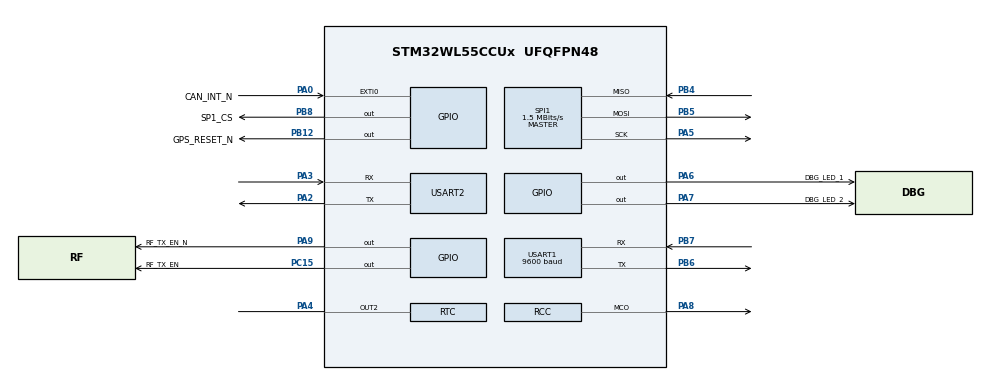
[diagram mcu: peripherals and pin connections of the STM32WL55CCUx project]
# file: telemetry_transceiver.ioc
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Mcu.Family=STM32WL
Mcu.Name=STM32WL55CCUx
Mcu.Package=UFQFPN48
Mcu.UserConstants=APB1TIM_CLK_MHz,32
NVIC.EXTI0_IRQn=true\:0\:0\:false\:false\:true\:true\:true\:true
NVIC.PriorityGroup=NVIC_PRIORITYGROUP_4
NVIC.SPI1_IRQn=true\:0\:0\:false\:false\:true\:true\:true\:true
NVIC.SUBGHZ_Radio_IRQn=true\:0\:0\:false\:false\:true\:true\:true\:true
PA0.GPIO_Label=CAN_INT_N
PA0.GPIO_ModeDefaultEXTI=GPIO_MODE_IT_FALLING
PA0.Signal=GPXTI0
PA13.Mode=Serial_Wire
PA13.Signal=DEBUG_JTMS-SWDIO
PA14.Mode=Serial_Wire
PA14.Signal=DEBUG_JTCK-SWCLK
PA2.Mode=Asynchronous
PA2.Signal=USART2_TX
PA3.Mode=Asynchronous
PA3.Signal=USART2_RX
PA4.Mode=Calibration_1Hz
PA4.Signal=RTC_OUT2
PA5.Mode=Full_Duplex_Master
PA5.Signal=SPI1_SCK
PA6.GPIO_Label=DBG_LED_1
PA6.Signal=GPIO_Output
PA7.GPIO_Label=DBG_LED_2
PA7.Signal=GPIO_Output
PA8.Mode=Clock-out
PA8.Signal=RCC_MCO
PA9.GPIO_Label=RF_TX_EN_N
PA9.Signal=GPIO_Output
PB12.GPIO_Label=GPS_RESET_N
PB12.Signal=GPIO_Output
PB3.Signal=DEBUG_JTDO-SWO
PB4.Mode=Full_Duplex_Master
PB4.Signal=SPI1_MISO
PB5.Mode=Full_Duplex_Master
PB5.Signal=SPI1_MOSI
PB6.Mode=Asynchronous
PB6.Signal=USART1_TX
PB7.Mode=Asynchronous
PB7.Signal=USART1_RX
PB8.GPIO_Label=SP1_CS
PB8.Signal=GPIO_Output
PC15-OSC32_OUT.GPIO_Label=RF_TX_EN
PC15-OSC32_OUT.Signal=GPIO_Output
ProjectManager.HeapSize=0x200
ProjectManager.StackSize=0x400
ProjectManager.TargetToolchain=STM32CubeIDE
RCC.AHBFreq_Value=48000000
RCC.APB1Freq_Value=48000000
RCC.APB1TimFreq_Value=48000000
RCC.APB2Freq_Value=48000000
RCC.APB2TimFreq_Value=48000000
RCC.APB3Freq_Value=48000000
RCC.CortexFreq_Value=48000000
RCC.HCLKFreq_Value=48000000
RCC.HSE_VALUE=32000000
RCC.HSI_VALUE=16000000
RCC.LSE_VALUE=32768
RCC.MSIClockRange=RCC_MSIRANGE_11
RCC.RCC_MCO1Source=RCC_MCO1SOURCE_HSI
RCC.RCC_MCODiv=RCC_MCODIV_2
RCC.SYSCLKFreq_VALUE=48000000
RCC.VCOOutputFreq_Value=384000000
SPI1.BaudRatePrescaler=SPI_BAUDRATEPRESCALER_32
SPI1.CalculateBaudRate=1.5 MBits/s
SPI1.DataSize=SPI_DATASIZE_8BIT
SPI1.Direction=SPI_DIRECTION_2LINES
SPI1.Mode=SPI_MODE_MASTER
SPI1.VirtualType=VM_MASTER
USART1.BaudRate=9600
USART1.VirtualMode-Asynchronous=VM_ASYNC
USART2.VirtualMode-Asynchronous=VM_ASYNC
VP_RTC_VS_RTC_Activate.Mode=RTC_Enabled
VP_SUBGHZ_VS_SUBGHZ.Mode=SUBGHZ_Activate
board=custom

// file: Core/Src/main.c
/* USER CODE BEGIN Header */
/**
 ******************************************************************************
 * @file           : main.c
 * @brief          : Main program body
 ******************************************************************************
 * @attention
 *
 * Copyright (c) 2026 STMicroelectronics.
 * All rights reserved.
 *
 * This software is licensed under terms that can be found in the LICENSE file
 * in the root directory of this software component.
 * If no LICENSE file comes with this software, it is provided AS-IS.
 *
 ******************************************************************************
 */
/* USER CODE END Header */
#include "main.h"
#include "rtc.h"
#include "spi.h"
#include "subghz.h"
#include "usart.h"
#include "gpio.h"

/* USER CODE BEGIN Includes */
#include "evclib.h"
#include "gps.h"
#include "lora.h"
#include "mcp2515.h"
/* USER CODE END Includes */

/* USER CODE BEGIN PV */
uint8_t message[8] = "Hello!!";

uint8_t outbuf[8] = "whatttt\0";
uint8_t size;

uint8_t rxb0[20];
uint8_t rxb1[20];

/* USER CODE END PV */

void SystemClock_Config(void);

/* USER CODE BEGIN 0 */
volatile uint8_t canIrqPending = 0;

/* GPIO Interrupt Handler */
void HAL_GPIO_EXTI_Callback(uint16_t gpio_pin) {
	// if (gpio_pin == GPIO_PIN_0) {
	HAL_GPIO_WritePin(DBG_LED_1_GPIO_Port, DBG_LED_1_Pin, GPIO_PIN_RESET);
	canIrqPending = 1;
	// }
}

//void HAL_TIM_PeriodElapsedCallback(TIM_HandleTypeDef *htim){
//	HAL_GPIO_TogglePin(DBG_LED_2_GPIO_Port, DBG_LED_2_Pin);
//}
/* USER CODE END 0 */

int main(void)
{

	/* MCU Configuration--------------------------------------------------------*/

	/* Reset of all peripherals, Initializes the Flash interface and the Systick. */
	HAL_Init();

	/* Configure the system clock */
	SystemClock_Config();

	/* Initialize all configured peripherals */
	MX_GPIO_Init();
	MX_SUBGHZ_Init();
	MX_USART1_UART_Init();
	MX_USART2_UART_Init();
	MX_RTC_Init();
	MX_SPI1_Init();
	/* USER CODE BEGIN 2 */
	HAL_GPIO_WritePin(GPS_RESET_N_GPIO_Port, GPS_RESET_N_Pin, GPIO_PIN_RESET);
	HAL_Delay(10);
	HAL_GPIO_WritePin(GPS_RESET_N_GPIO_Port, GPS_RESET_N_Pin, GPIO_PIN_SET);
	HAL_Delay(20);

	// NOTE: THE LEDs are active low
	HAL_GPIO_WritePin(DBG_LED_1_GPIO_Port, DBG_LED_1_Pin, GPIO_PIN_SET);
	HAL_GPIO_WritePin(DBG_LED_2_GPIO_Port, DBG_LED_2_Pin, GPIO_PIN_SET);

	DBG_Init(&huart2);
	MCP_Status_t status = MCP_Init();
	DBG(DBG_W, DBG_MAIN, "MCP Init Status: %d", status);
	lora_init(LORA_SF7, LORA_BW_250);
	lora_setupTX();

	//	lora_init(LORA_SF7, LORA_BW_125);
	//	lora_setupRX();
	//	lora_startContinuousRx((uint32_t)0xFFFFFF);

	DBG(DBG_MAIN,DBG_I, "Scout Online");
	/* USER CODE END 2 */

	/* Infinite loop */
	while (1)
	{

		/* USER CODE BEGIN 3 */

		//		uint8_t msgCount = 0;
		//		if (canIrqPending) {
		//			DBG(DBG_MAIN, DBG_I, "CAN Message Received!");
		//			HAL_GPIO_WritePin(DBG_LED_1_GPIO_Port, DBG_LED_1_Pin, GPIO_PIN_SET);
		//			MCP_ReadRxBuffer(rxb0, rxb1, &msgCount);
		//			HAL_UART_Transmit(&huart2, rxb0, RX_BUFFER_SIZE, HAL_MAX_DELAY);
		//			HAL_UART_Transmit(&huart2, rxb1, RX_BUFFER_SIZE, HAL_MAX_DELAY);
		//			canIrqPending = 0;
		//		}

		DBG(DBG_MAIN, DBG_I,"Sending Message");
		lora_send(message, LORA_TIMEOUT);
		HAL_Delay(10);

		//		int status = lora_receive(outbuf, &size, 8);
		//		if(status == 0){
		//			DBG(DBG_MAIN,DBG_I,"Received message of size: %d\n", size);
		//			DBG(DBG_MAIN,DBG_I,"Message: %s", outbuf);
		//		}else{
		//			DBG(DBG_MAIN, DBG_E, "Status: %d", status);
		//		}
		//
		//		HAL_Delay(100);

	}
	/* USER CODE END 3 */
}

void SystemClock_Config(void)
{
	RCC_OscInitTypeDef RCC_OscInitStruct = {0};
	RCC_ClkInitTypeDef RCC_ClkInitStruct = {0};

	/** Configure the main internal regulator output voltage
	 */
	__HAL_PWR_VOLTAGESCALING_CONFIG(PWR_REGULATOR_VOLTAGE_SCALE1);

	/** Initializes the CPU, AHB and APB buses clocks
	 */
	RCC_OscInitStruct.OscillatorType = RCC_OSCILLATORTYPE_HSI|RCC_OSCILLATORTYPE_LSI
			|RCC_OSCILLATORTYPE_MSI;
	RCC_OscInitStruct.HSIState = RCC_HSI_ON;
	RCC_OscInitStruct.MSIState = RCC_MSI_ON;
	RCC_OscInitStruct.HSICalibrationValue = RCC_HSICALIBRATION_DEFAULT;
	RCC_OscInitStruct.MSICalibrationValue = RCC_MSICALIBRATION_DEFAULT;
	RCC_OscInitStruct.MSIClockRange = RCC_MSIRANGE_11;
	RCC_OscInitStruct.LSIDiv = RCC_LSI_DIV1;
	RCC_OscInitStruct.LSIState = RCC_LSI_ON;
	RCC_OscInitStruct.PLL.PLLState = RCC_PLL_NONE;
	if (HAL_RCC_OscConfig(&RCC_OscInitStruct) != HAL_OK)
	{
		Error_Handler();
	}

	/** Configure the SYSCLKSource, HCLK, PCLK1 and PCLK2 clocks dividers
	 */
	RCC_ClkInitStruct.ClockType = RCC_CLOCKTYPE_HCLK3|RCC_CLOCKTYPE_HCLK
			|RCC_CLOCKTYPE_SYSCLK|RCC_CLOCKTYPE_PCLK1
			|RCC_CLOCKTYPE_PCLK2;
	RCC_ClkInitStruct.SYSCLKSource = RCC_SYSCLKSOURCE_MSI;
	RCC_ClkInitStruct.AHBCLKDivider = RCC_SYSCLK_DIV1;
	RCC_ClkInitStruct.APB1CLKDivider = RCC_HCLK_DIV1;
	RCC_ClkInitStruct.APB2CLKDivider = RCC_HCLK_DIV1;
	RCC_ClkInitStruct.AHBCLK3Divider = RCC_SYSCLK_DIV1;

	if (HAL_RCC_ClockConfig(&RCC_ClkInitStruct, FLASH_LATENCY_2) != HAL_OK)
	{
		Error_Handler();
	}
	HAL_RCC_MCOConfig(RCC_MCO1, RCC_MCO1SOURCE_HSI, RCC_MCODIV_2);
}

void Error_Handler(void)
{
	__disable_irq();
	while (1)
	{
	}
}
